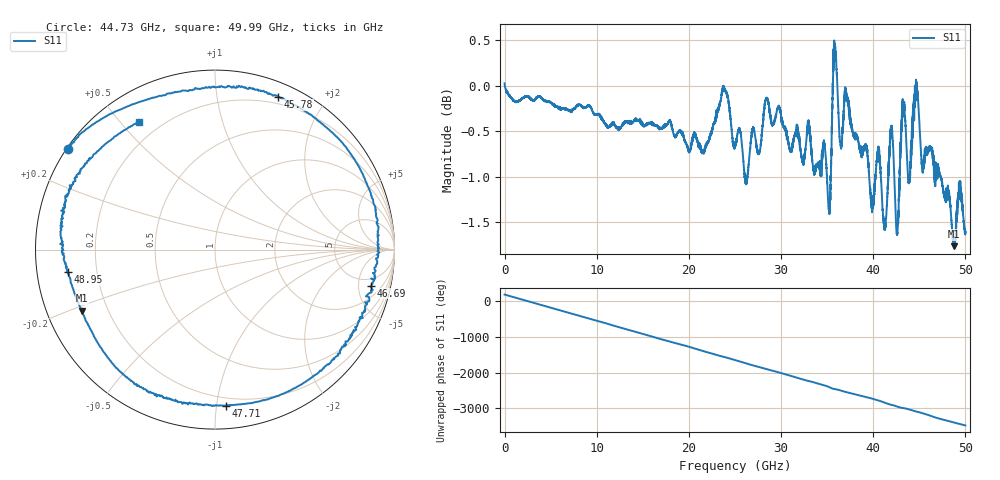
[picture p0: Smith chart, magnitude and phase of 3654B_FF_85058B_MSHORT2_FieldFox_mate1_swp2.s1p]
!Created with skrf (http://scikit-rf.org).
# Hz S RI R 50.0
!freq ReS11 ImS11
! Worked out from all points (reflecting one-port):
!   10000 points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, 5.3 MHz to 50 GHz, reference 50 ohm
!   lowest |S11| = -1.8 dB at 48.74 GHz (marker M1), VSWR 9.86, Z = 5.31 - j10.8 ohm
!   phase of S11 starts at 180 deg and turns -3660 deg over the sweep
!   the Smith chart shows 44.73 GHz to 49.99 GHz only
!   S11 on the Smith chart (normalised r, x): 44.73 GHz: 0.00, +0.31; 45.78 GHz: 0.13, +1.49; 46.69 GHz: 3.56, -7.05; 47.71 GHz: 0.15, -1.06; 48.95 GHz: 0.09, -0.07; 49.99 GHz: 0.12, +0.56
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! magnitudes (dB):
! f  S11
! 5.3 MHz  0.0
! 6.255 GHz  -0.3
! 12.51 GHz  -0.5
! 18.76 GHz  -0.5
! 23.84 GHz  0.0
! 25.01 GHz  -0.6
! 26.24 GHz  -1.1
! 28.45 GHz  -0.1
! 31.26 GHz  -0.7
! 35.17 GHz  -1.3
! 35.84 GHz  0.4
! 36.46 GHz  -0.6
! 37.51 GHz  -0.4
! 39.88 GHz  -1.4
! 40.59 GHz  -0.7
! 41.23 GHz  -1.5
! 41.95 GHz  -0.4
! 42.57 GHz  -1.6
! 43.24 GHz  -0.3
! 43.76 GHz  -1.0
! 44.73 GHz  -0.1
! 45.78 GHz  -0.7
! 46.69 GHz  -1.0
! 47.71 GHz  -1.2
! 48.74 GHz  -1.8
! 48.95 GHz  -1.6
! 49.99 GHz  -1.6
! 50 GHz  -1.6
